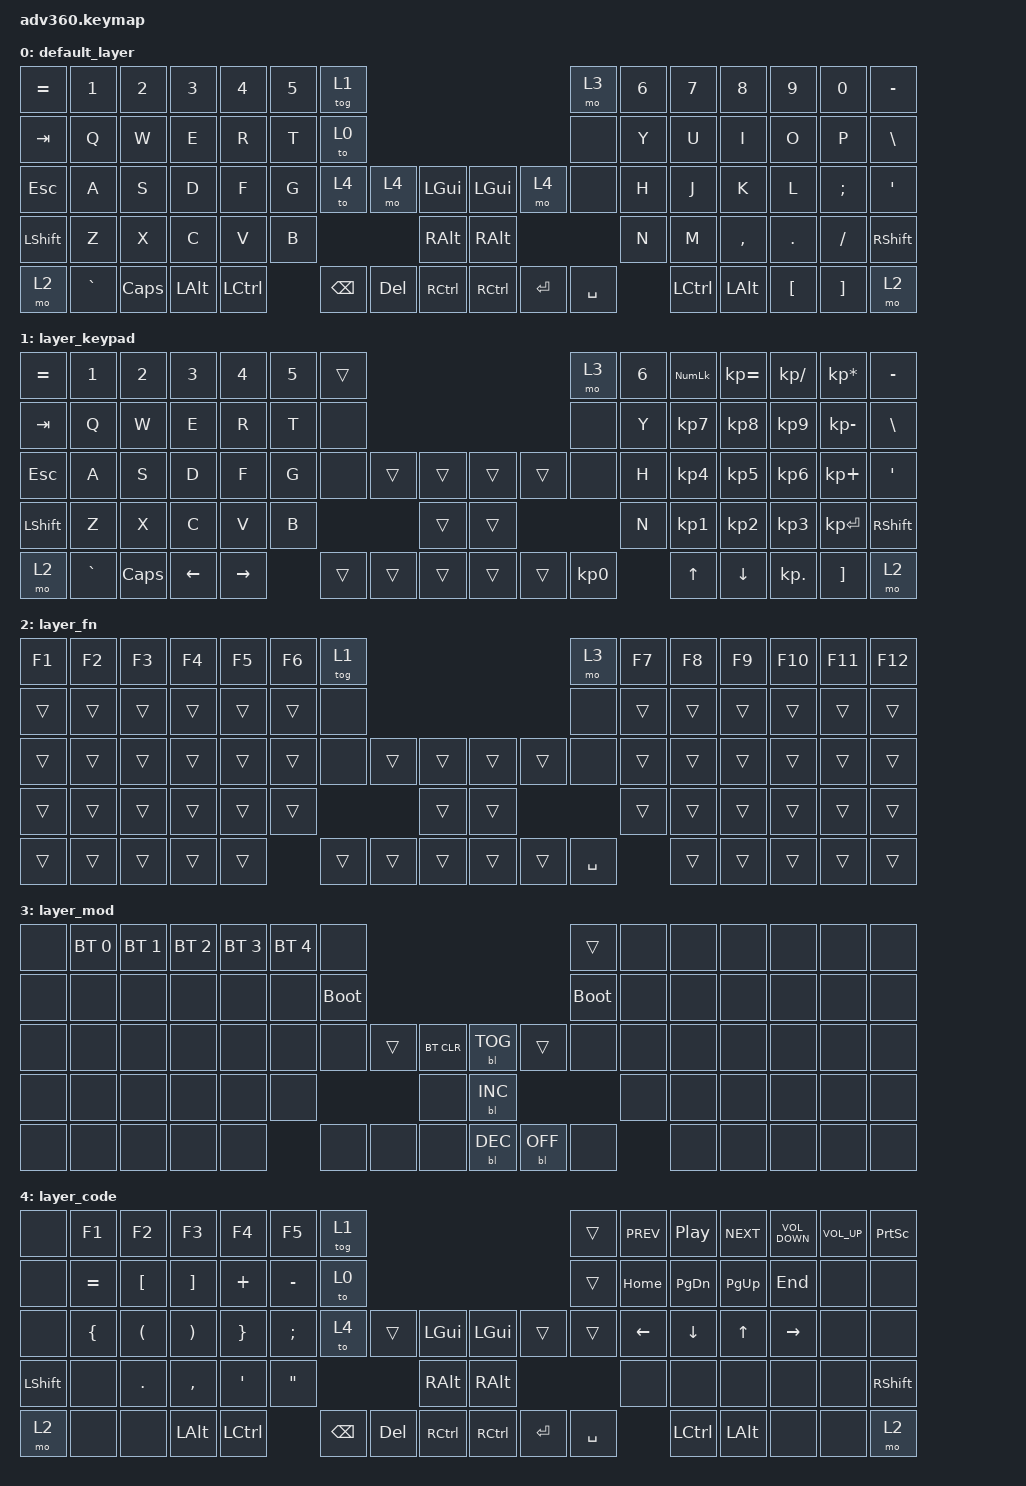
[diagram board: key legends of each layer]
/*
 * Copyright (c) 2020 The ZMK Contributors
 *
 * SPDX-License-Identifier: MIT
 */
/* THIS FILE WAS GENERATED!
 *
 * This file was generated automatically. You may or may not want to
 * edit it directly.
 */

#include <behaviors.dtsi>
#include <dt-bindings/zmk/backlight.h>
#include <dt-bindings/zmk/bt.h>
#include <dt-bindings/zmk/keys.h>

/ {
    behaviors {
        #include "macros.dtsi"
    #include "version.dtsi"

        hm: homerow_mods {
            compatible = "zmk,behavior-hold-tap";
            label = "HOMEROW_MODS";
            #binding-cells = <2>;
            tapping-term-ms = <200>;
            quick_tap_ms = <175>;
            flavor = "tap-preferred";
            bindings = <&kp>, <&kp>;
        };
    };

    keymap {
        compatible = "zmk,keymap";

        default_layer {
            bindings = <
&kp EQUAL  &kp N1     &kp N2    &kp N3    &kp N4     &kp N5  &tog 1                                                          &mo 3      &kp N6  &kp N7     &kp N8     &kp N9    &kp N0    &kp MINUS
&kp TAB    &kp Q      &kp W     &kp E     &kp R      &kp T   &to 0                                                           &none      &kp Y   &kp U      &kp I      &kp O     &kp P     &kp BSLH
&kp ESC    &kp A      &kp S     &kp D     &kp F      &kp G   &to 4     &mo 4    &kp LGUI           &kp LGUI       &mo 4      &none      &kp H   &kp J      &kp K      &kp L     &kp SEMI  &kp SQT
&kp LSHFT  &kp Z      &kp X     &kp C     &kp V      &kp B                      &kp RIGHT_ALT      &kp RIGHT_ALT                        &kp N   &kp M      &kp COMMA  &kp DOT   &kp FSLH  &kp RSHFT
&mo 2      &kp GRAVE  &kp CAPS  &kp LALT  &kp LCTRL          &kp BSPC  &kp DEL  &kp RCTRL          &kp RCTRL      &kp ENTER  &kp SPACE          &kp LCTRL  &kp LALT   &kp LBKT  &kp RBKT  &mo 2
            >;
        };

        layer_keypad {
            bindings = <
&kp EQUAL  &kp N1     &kp N2    &kp N3    &kp N4     &kp N5  &trans                                      &mo 3      &kp N6  &kp KP_NUM  &kp KP_EQUAL  &kp KP_DIVIDE  &kp KP_MULTIPLY  &kp MINUS
&kp TAB    &kp Q      &kp W     &kp E     &kp R      &kp T   &none                                       &none      &kp Y   &kp KP_N7   &kp KP_N8     &kp KP_N9      &kp KP_MINUS     &kp BSLH
&kp ESC    &kp A      &kp S     &kp D     &kp F      &kp G   &none   &trans  &trans      &trans  &trans  &none      &kp H   &kp KP_N4   &kp KP_N5     &kp KP_N6      &kp KP_PLUS      &kp SQT
&kp LSHFT  &kp Z      &kp X     &kp C     &kp V      &kp B                   &trans      &trans                     &kp N   &kp KP_N1   &kp KP_N2     &kp KP_N3      &kp KP_ENTER     &kp RSHFT
&mo 2      &kp GRAVE  &kp CAPS  &kp LEFT  &kp RIGHT          &trans  &trans  &trans      &trans  &trans  &kp KP_N0          &kp UP      &kp DOWN      &kp KP_DOT     &kp RBKT         &mo 2
            >;
        };

        layer_fn {
            bindings = <
&kp F1  &kp F2  &kp F3  &kp F4  &kp F5  &kp F6  &tog 1                                      &mo 3      &kp F7  &kp F8  &kp F9  &kp F10  &kp F11  &kp F12
&trans  &trans  &trans  &trans  &trans  &trans  &none                                       &none      &trans  &trans  &trans  &trans   &trans   &trans
&trans  &trans  &trans  &trans  &trans  &trans  &none   &trans  &trans      &trans  &trans  &none      &trans  &trans  &trans  &trans   &trans   &trans
&trans  &trans  &trans  &trans  &trans  &trans                  &trans      &trans                     &trans  &trans  &trans  &trans   &trans   &trans
&trans  &trans  &trans  &trans  &trans          &trans  &trans  &trans      &trans  &trans  &kp SPACE          &trans  &trans  &trans   &trans   &trans
            >;
        };

        layer_mod {
            bindings = <
&none  &bt BT_SEL 0  &bt BT_SEL 1  &bt BT_SEL 2  &bt BT_SEL 3  &bt BT_SEL 4  &none                                                        &trans       &none  &none  &none  &none  &none  &none
&none  &none         &none         &none         &none         &none         &bootloader                                                  &bootloader  &none  &none  &none  &none  &none  &none
&none  &none         &none         &none         &none         &none         &none        &trans  &bt BT_CLR      &bl BL_TOG  &trans      &none        &none  &none  &none  &none  &none  &none
&none  &none         &none         &none         &none         &none                              &none           &bl BL_INC                           &none  &none  &none  &none  &none  &none
&none  &none         &none         &none         &none                       &none        &none   &none           &bl BL_DEC  &bl BL_OFF  &none               &none  &none  &none  &none  &none
            >;
        };

        layer_code {
            bindings = <
&none       &kp F1          &kp F2                &kp F3                 &kp F4            &kp F5             &tog 1                                                                  &trans     &kp C_PREV  &kp C_PP   &kp C_NEXT  &kp C_VOLUME_DOWN  &kp C_VOL_UP  &kp PRINTSCREEN
&none       &kp EQUAL       &kp LEFT_BRACKET      &kp RIGHT_BRACKET      &kp PLUS          &kp MINUS          &to 0                                                                   &trans     &kp HOME    &kp PG_DN  &kp PG_UP   &kp END            &none         &none
&none       &kp LEFT_BRACE  &kp LEFT_PARENTHESIS  &kp RIGHT_PARENTHESIS  &kp RIGHT_BRACE   &kp SEMICOLON      &to 4          &trans      &kp LGUI           &kp LGUI       &trans     &trans     &kp LEFT    &kp DOWN   &kp UP      &kp RIGHT          &none         &none
&kp LSHIFT  &none           &kp DOT               &kp COMMA              &kp SINGLE_QUOTE  &kp DOUBLE_QUOTES                             &kp RIGHT_ALT      &kp RIGHT_ALT                        &none       &none      &none       &none              &none         &kp RSHIFT
&mo 2       &none           &none                 &kp LALT               &kp LCTRL                            &kp BACKSPACE  &kp DELETE  &kp RCTRL          &kp RCTRL      &kp ENTER  &kp SPACE              &kp LCTRL  &kp LALT    &none              &none         &mo 2
            >;
        };
    };
};
